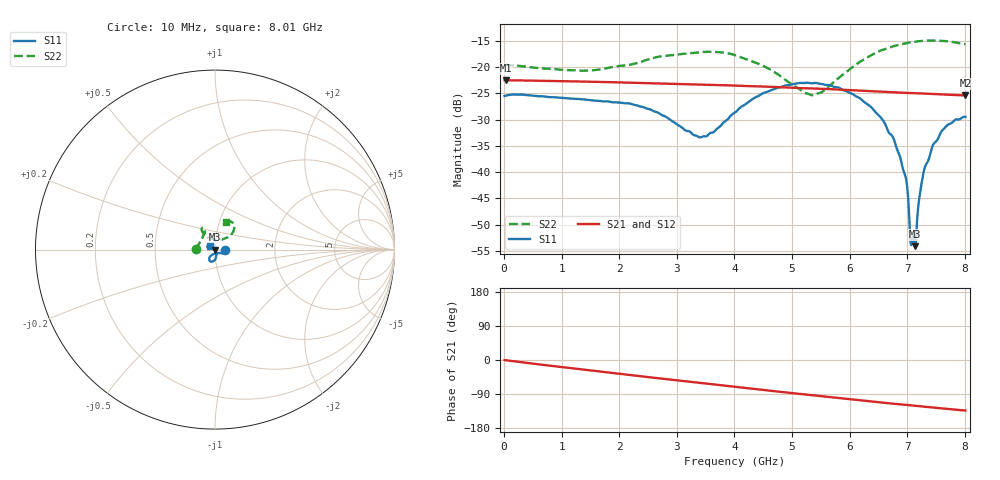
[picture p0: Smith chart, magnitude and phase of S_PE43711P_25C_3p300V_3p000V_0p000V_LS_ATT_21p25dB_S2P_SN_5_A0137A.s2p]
! Device ID: PE43711P
! File Path: z:\PE43711P\CHAR_NOM_04282014\AMB\3p300\LS_ATT_21p25dB\PE43711P_AMB_3p300V_3p000V_0p000V_LS_ATT_21p25dB_S2P_SN_5_A0137A.s2p
! Serial: 5
! Lot: A0137A
! Temp: 25C
! VDD: 3.300
! VSS: 0.000
! Control_Hi: 3.000
! Control_Lo: 0.000
! Attenuation Step: 21.25dB
! Port 1: RF1
! Port 2: RF2
! ThroughPath:1-2
! IDD: 0.000127584
! ISS: -2.192e-007
#  Hz  S  RI  R  50
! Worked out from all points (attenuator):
!   801 points, 10 MHz to 8.01 GHz, reference 50 ohm
!   highest |S21| = -22.48 dB at 40 MHz (marker M1); lowest = -25.4 dB at 8.01 GHz (marker M2)
!   lowest |S11| = -54.1 dB at 7.14 GHz (marker M3), VSWR 1.00, Z = 49.8 + j0.00435 ohm
!   |S11| at or under -10 dB: start of sweep to end of sweep
!   |S22| runs from -25.3 to -14.9 dB; largest |S21 - S12| = 0.00015
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1e7  0.0532 0.000202  0.0752 -0.000292  0.0753 -0.000363  -0.106 0.000834
4e7  0.0538 -6.27e-05  0.0752 -0.00104  0.0752 -0.00106  -0.1052 0.0024
1.35e9  0.0458 -0.0187  0.0662 -0.0308  0.0663 -0.0308  -0.0796 0.0473
2.68e9  0.0309 -0.0198  0.0467 -0.0521  0.0467 -0.0521  -0.0587 0.1115
3.41e9  0.00545 -0.0208  0.0335 -0.0592  0.0335 -0.0593  -0.066 0.1227
4.01e9  -0.0198 -0.0313  0.0221 -0.063  0.022 -0.0631  -0.0743 0.107
4.67e9  -0.0322 -0.0522  0.00914 -0.0643  0.00916 -0.0643  -0.0496 0.0774
5.35e9  -0.0222 -0.0666  -0.00323 -0.0627  -0.0032 -0.0627  0.00455 0.0539
6.17e9  0.00277 -0.0509  -0.0169 -0.0574  -0.0169 -0.0575  0.082 0.0762
6.53e9  0.00748 -0.0329  -0.0218 -0.0542  -0.0218 -0.0542  0.1021 0.1011
6.68e9  0.00653 -0.023  -0.0236 -0.0529  -0.0236 -0.0529  0.1053 0.1119
6.78e9  0.00634 -0.0185  -0.0248 -0.0519  -0.0248 -0.0519  0.1071 0.1188
6.95e9  0.00257 -0.00949  -0.0268 -0.0503  -0.0267 -0.0504  0.1064 0.1296
6.99e9  0.00279 -0.00744  -0.0272 -0.05  -0.0272 -0.0501  0.1066 0.1317
7.04e9  0.00113 -0.00311  -0.0278 -0.0495  -0.0278 -0.0495  0.106 0.1358
7.08e9  -0.00132 -0.00169  -0.0283 -0.0491  -0.0283 -0.0492  0.1047 0.1381
7.11e9  -0.00198 -0.00134  -0.0286 -0.0488  -0.0285 -0.0489  0.1041 0.1394
7.14e9  -0.00197 4.37e-05  -0.0289 -0.0486  -0.0289 -0.0486  0.1037 0.1411
7.27e9  -0.00597 0.00684  -0.0304 -0.0473  -0.0304 -0.0472  0.0994 0.1485
7.44e9  -0.0115 0.0135  -0.0322 -0.0454  -0.0322 -0.0454  0.0904 0.1552
7.68e9  -0.0194 0.0194  -0.0344 -0.0427  -0.0343 -0.0426  0.0763 0.1599
8.01e9  -0.0258 0.0216  -0.037 -0.039  -0.0371 -0.039  0.0586 0.1539
